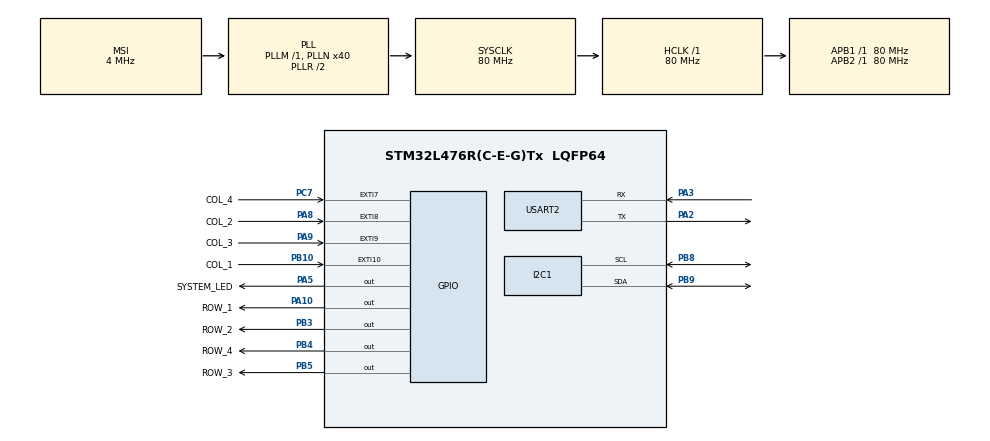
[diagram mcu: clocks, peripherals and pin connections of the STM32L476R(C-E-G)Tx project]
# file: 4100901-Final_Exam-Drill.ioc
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I2C1.Timing=0x10909CEC
Mcu.Family=STM32L4
Mcu.Name=STM32L476R(C-E-G)Tx
Mcu.Package=LQFP64
NVIC.PriorityGroup=NVIC_PRIORITYGROUP_4
PA10.GPIO_Label=ROW_1
PA10.PinState=GPIO_PIN_SET
PA10.Signal=GPIO_Output
PA2.Mode=Asynchronous
PA2.Signal=USART2_TX
PA3.Mode=Asynchronous
PA3.Signal=USART2_RX
PA5.GPIO_Label=SYSTEM_LED
PA5.Signal=GPIO_Output
PA8.GPIO_Label=COL_2
PA8.GPIO_ModeDefaultEXTI=GPIO_MODE_IT_RISING
PA8.GPIO_PuPd=GPIO_PULLDOWN
PA8.Signal=GPXTI8
PA9.GPIO_Label=COL_3
PA9.GPIO_ModeDefaultEXTI=GPIO_MODE_IT_RISING
PA9.GPIO_PuPd=GPIO_PULLDOWN
PA9.Signal=GPXTI9
PB10.GPIO_Label=COL_1
PB10.GPIO_ModeDefaultEXTI=GPIO_MODE_IT_RISING
PB10.GPIO_PuPd=GPIO_PULLDOWN
PB10.Signal=GPXTI10
PB3\ (JTDO-TRACESWO).GPIO_Label=ROW_2
PB3\ (JTDO-TRACESWO).PinState=GPIO_PIN_SET
PB3\ (JTDO-TRACESWO).Signal=GPIO_Output
PB4\ (NJTRST).GPIO_Label=ROW_4
PB4\ (NJTRST).PinState=GPIO_PIN_SET
PB4\ (NJTRST).Signal=GPIO_Output
PB5.GPIO_Label=ROW_3
PB5.PinState=GPIO_PIN_SET
PB5.Signal=GPIO_Output
PB8.Mode=I2C
PB8.Signal=I2C1_SCL
PB9.Mode=I2C
PB9.Signal=I2C1_SDA
PC7.GPIO_Label=COL_4
PC7.GPIO_ModeDefaultEXTI=GPIO_MODE_IT_RISING
PC7.GPIO_PuPd=GPIO_PULLDOWN
PC7.Signal=GPXTI7
ProjectManager.HeapSize=0x200
ProjectManager.StackSize=0x400
ProjectManager.TargetToolchain=STM32CubeIDE
RCC.AHBFreq_Value=80000000
RCC.APB1Freq_Value=80000000
RCC.APB1TimFreq_Value=80000000
RCC.APB2Freq_Value=80000000
RCC.APB2TimFreq_Value=80000000
RCC.CortexFreq_Value=80000000
RCC.HCLKFreq_Value=80000000
RCC.HSE_VALUE=8000000
RCC.HSI_VALUE=16000000
RCC.LSE_VALUE=32768
RCC.MSI_VALUE=4000000
RCC.PLLN=40
RCC.SYSCLKFreq_VALUE=80000000
RCC.SYSCLKSource=RCC_SYSCLKSOURCE_PLLCLK
RCC.VCOOutputFreq_Value=160000000
USART2.VirtualMode-Asynchronous=VM_ASYNC
board=custom

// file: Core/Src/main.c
/* USER CODE BEGIN Header */
/**
  ******************************************************************************
  * @file           : main.c
  * @brief          : Main program body
  ******************************************************************************
  * @attention
  *
  * Copyright (c) 2024 STMicroelectronics.
  * All rights reserved.
  *
  * This software is licensed under terms that can be found in the LICENSE file
  * in the root directory of this software component.
  * If no LICENSE file comes with this software, it is provided AS-IS.
  *
  ******************************************************************************
  */
/* USER CODE END Header */
#include "main.h"

/* USER CODE BEGIN Includes */
#include <stdio.h>
#include "keypad.h"
#include "led_status.h"
#include "ssd1306.h"
#include "ssd1306_fonts.h"
#include "ring_buffer.h"
/* USER CODE END Includes */

I2C_HandleTypeDef hi2c1;

UART_HandleTypeDef huart2;

/* USER CODE BEGIN PV */
#define BUFFER_SIZE 10
uint8_t buffer_memory[BUFFER_SIZE];
ring_buffer_t ident_rb;
uint8_t key_pressed;
/* USER CODE END PV */

void SystemClock_Config(void);
static void MX_GPIO_Init(void);
static void MX_USART2_UART_Init(void);
static void MX_I2C1_Init(void);

/* USER CODE BEGIN 0 */

int _write(int file, char *ptr, int len)
{
  // to using printf
  HAL_UART_Transmit(&huart2, (uint8_t *)ptr, len, 10);
  return len;
}

void HAL_GPIO_EXTI_Callback(uint16_t GPIO_Pin)
{

	HAL_UART_Transmit(&huart2, "INTERRUPCION C\r\n",12,10);
	uint8_t key_pressed = keypad_scan(GPIO_Pin);

}

void low_power_mode()
{
#define AWAKE_TIME (10 * 1000) // 10 segundos
	static uint32_t sleep_tick = AWAKE_TIME;

	if (sleep_tick > HAL_GetTick()) {
		return;
	}
	printf("Sleeping\r\n");
	sleep_tick = HAL_GetTick() + AWAKE_TIME;

	RCC->AHB1SMENR  = 0x0;
	RCC->AHB2SMENR  = 0x0;
	RCC->AHB3SMENR  = 0x0;

	RCC->APB1SMENR1 = 0x0;
	RCC->APB1SMENR2 = 0x0;
	RCC->APB2SMENR  = 0x0;

	/*Suspend Tick increment to prevent wakeup by Systick interrupt.
	Otherwise the Systick interrupt will wake up the device within 1ms (HAL time base)*/
	HAL_SuspendTick();

	/* Enter Sleep Mode , wake up is done once User push-button is pressed */
	HAL_PWR_EnterSLEEPMode(PWR_MAINREGULATOR_ON, PWR_SLEEPENTRY_WFI);

	/* Resume Tick interrupt if disabled prior to SLEEP mode entry */
	HAL_ResumeTick();

	printf("Awake\r\n");
}
/* USER CODE END 0 */

int main(void)
{

  /* MCU Configuration--------------------------------------------------------*/

  /* Reset of all peripherals, Initializes the Flash interface and the Systick. */
  HAL_Init();

  /* Configure the system clock */
  SystemClock_Config();

  /* Initialize all configured peripherals */
  MX_GPIO_Init();
  MX_USART2_UART_Init();
  MX_I2C1_Init();
  /* USER CODE BEGIN 2 */
  ring_buffer_init(&ident_rb, buffer_memory, BUFFER_SIZE);
  ssd1306_Init();
  ssd1306_Fill(Black);
  ssd1306_SetCursor(10, 20);
  ssd1306_WriteString("RICARDO Y CAMILA!", Font_6x8, White);
  ssd1306_UpdateScreen();

  /* Infinite loop */
  /* USER CODE BEGIN WHILE */
  printf("Starting...\r\n");
  while (1)
  {
		if (key_pressed != 0xFF){
	  	ssd1306_WriteString(key_pressed, Font_6x8, White);
			if(key_pressed = '*'){
				ring_buffer_reset(&ident_rb);
				}
			if(key_pressed = '#'){
				uint8_t val = validate_key(&ident_rb);
				if(val = 1){
					ssd1306_WriteString("correcto", Font_6x8, White);
				}
				else{
					ssd1306_WriteString("incorrecto", Font_6x8, White);
				}
			}
			else {
				ring_buffer_write(&ident_rb, key_pressed);
			}
			key_pressed = 0xFF;
		}

//	  low_power_mode();
    /* USER CODE END WHILE */

  }
}

void SystemClock_Config(void)
{
  RCC_OscInitTypeDef RCC_OscInitStruct = {0};
  RCC_ClkInitTypeDef RCC_ClkInitStruct = {0};

  /** Configure the main internal regulator output voltage
  */
  if (HAL_PWREx_ControlVoltageScaling(PWR_REGULATOR_VOLTAGE_SCALE1) != HAL_OK)
  {
    Error_Handler();
  }

  /** Initializes the RCC Oscillators according to the specified parameters
  * in the RCC_OscInitTypeDef structure.
  */
  RCC_OscInitStruct.OscillatorType = RCC_OSCILLATORTYPE_MSI;
  RCC_OscInitStruct.MSIState = RCC_MSI_ON;
  RCC_OscInitStruct.MSICalibrationValue = 0;
  RCC_OscInitStruct.MSIClockRange = RCC_MSIRANGE_6;
  RCC_OscInitStruct.PLL.PLLState = RCC_PLL_ON;
  RCC_OscInitStruct.PLL.PLLSource = RCC_PLLSOURCE_MSI;
  RCC_OscInitStruct.PLL.PLLM = 1;
  RCC_OscInitStruct.PLL.PLLN = 40;
  RCC_OscInitStruct.PLL.PLLP = RCC_PLLP_DIV7;
  RCC_OscInitStruct.PLL.PLLQ = RCC_PLLQ_DIV2;
  RCC_OscInitStruct.PLL.PLLR = RCC_PLLR_DIV2;
  if (HAL_RCC_OscConfig(&RCC_OscInitStruct) != HAL_OK)
  {
    Error_Handler();
  }

  /** Initializes the CPU, AHB and APB buses clocks
  */
  RCC_ClkInitStruct.ClockType = RCC_CLOCKTYPE_HCLK|RCC_CLOCKTYPE_SYSCLK
                              |RCC_CLOCKTYPE_PCLK1|RCC_CLOCKTYPE_PCLK2;
  RCC_ClkInitStruct.SYSCLKSource = RCC_SYSCLKSOURCE_PLLCLK;
  RCC_ClkInitStruct.AHBCLKDivider = RCC_SYSCLK_DIV1;
  RCC_ClkInitStruct.APB1CLKDivider = RCC_HCLK_DIV1;
  RCC_ClkInitStruct.APB2CLKDivider = RCC_HCLK_DIV1;

  if (HAL_RCC_ClockConfig(&RCC_ClkInitStruct, FLASH_LATENCY_4) != HAL_OK)
  {
    Error_Handler();
  }
}

static void MX_I2C1_Init(void)
{

  hi2c1.Instance = I2C1;
  hi2c1.Init.Timing = 0x10909CEC;
  hi2c1.Init.OwnAddress1 = 0;
  hi2c1.Init.AddressingMode = I2C_ADDRESSINGMODE_7BIT;
  hi2c1.Init.DualAddressMode = I2C_DUALADDRESS_DISABLE;
  hi2c1.Init.OwnAddress2 = 0;
  hi2c1.Init.OwnAddress2Masks = I2C_OA2_NOMASK;
  hi2c1.Init.GeneralCallMode = I2C_GENERALCALL_DISABLE;
  hi2c1.Init.NoStretchMode = I2C_NOSTRETCH_DISABLE;
  if (HAL_I2C_Init(&hi2c1) != HAL_OK)
  {
    Error_Handler();
  }

  /** Configure Analogue filter
  */
  if (HAL_I2CEx_ConfigAnalogFilter(&hi2c1, I2C_ANALOGFILTER_ENABLE) != HAL_OK)
  {
    Error_Handler();
  }

  /** Configure Digital filter
  */
  if (HAL_I2CEx_ConfigDigitalFilter(&hi2c1, 0) != HAL_OK)
  {
    Error_Handler();
  }

}

static void MX_USART2_UART_Init(void)
{

  huart2.Instance = USART2;
  huart2.Init.BaudRate = 115200;
  huart2.Init.WordLength = UART_WORDLENGTH_8B;
  huart2.Init.StopBits = UART_STOPBITS_1;
  huart2.Init.Parity = UART_PARITY_NONE;
  huart2.Init.Mode = UART_MODE_TX_RX;
  huart2.Init.HwFlowCtl = UART_HWCONTROL_NONE;
  huart2.Init.OverSampling = UART_OVERSAMPLING_16;
  huart2.Init.OneBitSampling = UART_ONE_BIT_SAMPLE_DISABLE;
  huart2.AdvancedInit.AdvFeatureInit = UART_ADVFEATURE_NO_INIT;
  if (HAL_UART_Init(&huart2) != HAL_OK)
  {
    Error_Handler();
  }

}

static void MX_GPIO_Init(void)
{
  GPIO_InitTypeDef GPIO_InitStruct = {0};

  /* GPIO Ports Clock Enable */
  __HAL_RCC_GPIOA_CLK_ENABLE();
  __HAL_RCC_GPIOB_CLK_ENABLE();
  __HAL_RCC_GPIOC_CLK_ENABLE();

  /*Configure GPIO pin Output Level */
  HAL_GPIO_WritePin(SYSTEM_LED_GPIO_Port, SYSTEM_LED_Pin, GPIO_PIN_RESET);

  /*Configure GPIO pin Output Level */
  HAL_GPIO_WritePin(ROW_1_GPIO_Port, ROW_1_Pin, GPIO_PIN_SET);

  /*Configure GPIO pin Output Level */
  HAL_GPIO_WritePin(GPIOB, ROW_2_Pin|ROW_4_Pin|ROW_3_Pin, GPIO_PIN_SET);

  /*Configure GPIO pins : SYSTEM_LED_Pin ROW_1_Pin */
  GPIO_InitStruct.Pin = SYSTEM_LED_Pin|ROW_1_Pin;
  GPIO_InitStruct.Mode = GPIO_MODE_OUTPUT_PP;
  GPIO_InitStruct.Pull = GPIO_NOPULL;
  GPIO_InitStruct.Speed = GPIO_SPEED_FREQ_LOW;
  HAL_GPIO_Init(GPIOA, &GPIO_InitStruct);

  /*Configure GPIO pin : COL_1_Pin */
  GPIO_InitStruct.Pin = COL_1_Pin;
  GPIO_InitStruct.Mode = GPIO_MODE_IT_RISING;
  GPIO_InitStruct.Pull = GPIO_PULLDOWN;
  HAL_GPIO_Init(COL_1_GPIO_Port, &GPIO_InitStruct);

  /*Configure GPIO pin : COL_4_Pin */
  GPIO_InitStruct.Pin = COL_4_Pin;
  GPIO_InitStruct.Mode = GPIO_MODE_IT_RISING;
  GPIO_InitStruct.Pull = GPIO_PULLDOWN;
  HAL_GPIO_Init(COL_4_GPIO_Port, &GPIO_InitStruct);

  /*Configure GPIO pins : COL_2_Pin COL_3_Pin */
  GPIO_InitStruct.Pin = COL_2_Pin|COL_3_Pin;
  GPIO_InitStruct.Mode = GPIO_MODE_IT_RISING;
  GPIO_InitStruct.Pull = GPIO_PULLDOWN;
  HAL_GPIO_Init(GPIOA, &GPIO_InitStruct);

  /*Configure GPIO pins : ROW_2_Pin ROW_4_Pin ROW_3_Pin */
  GPIO_InitStruct.Pin = ROW_2_Pin|ROW_4_Pin|ROW_3_Pin;
  GPIO_InitStruct.Mode = GPIO_MODE_OUTPUT_PP;
  GPIO_InitStruct.Pull = GPIO_NOPULL;
  GPIO_InitStruct.Speed = GPIO_SPEED_FREQ_LOW;
  HAL_GPIO_Init(GPIOB, &GPIO_InitStruct);

}

void Error_Handler(void)
{
  __disable_irq();
  while (1)
  {
  }
}
